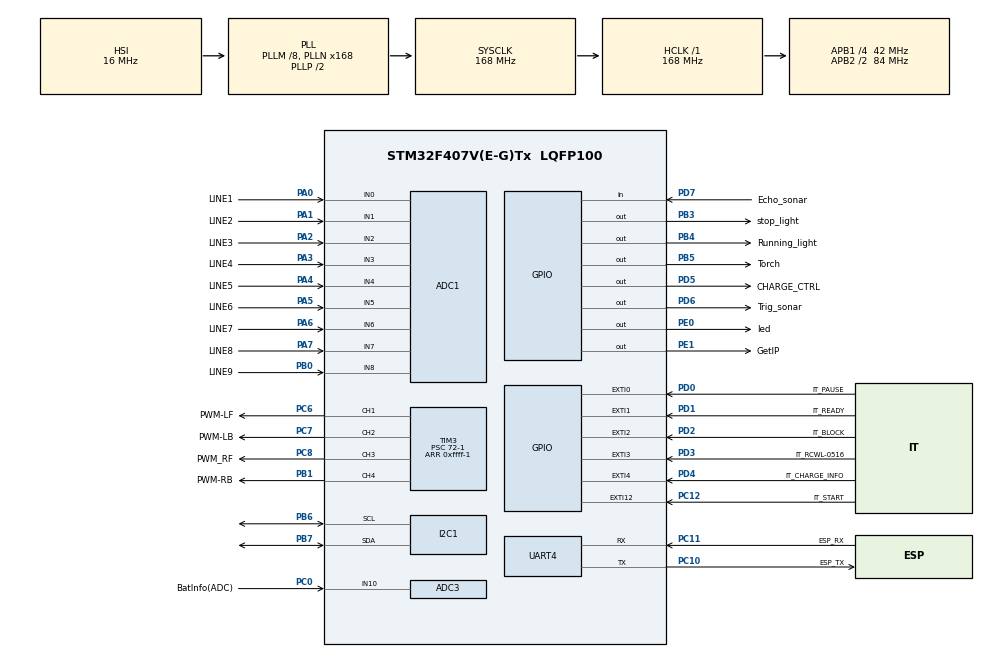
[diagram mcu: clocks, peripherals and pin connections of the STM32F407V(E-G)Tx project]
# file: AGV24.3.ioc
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ADC1.Channel-0\#ChannelRegularConversion=ADC_CHANNEL_0
ADC1.Channel-1\#ChannelRegularConversion=ADC_CHANNEL_1
ADC1.Channel-2\#ChannelRegularConversion=ADC_CHANNEL_2
ADC1.Channel-3\#ChannelRegularConversion=ADC_CHANNEL_3
ADC1.Channel-4\#ChannelRegularConversion=ADC_CHANNEL_4
ADC1.Channel-5\#ChannelRegularConversion=ADC_CHANNEL_5
ADC1.Channel-6\#ChannelRegularConversion=ADC_CHANNEL_6
ADC1.Channel-7\#ChannelRegularConversion=ADC_CHANNEL_7
ADC1.Channel-8\#ChannelRegularConversion=ADC_CHANNEL_8
ADC1.ContinuousConvMode=ENABLE
ADC1.NbrOfConversion=9
ADC1.NbrOfConversionFlag=1
ADC1.Rank-0\#ChannelRegularConversion=1
ADC1.Rank-1\#ChannelRegularConversion=2
ADC1.Rank-2\#ChannelRegularConversion=3
ADC1.Rank-3\#ChannelRegularConversion=4
ADC1.Rank-4\#ChannelRegularConversion=5
ADC1.Rank-5\#ChannelRegularConversion=6
ADC1.Rank-6\#ChannelRegularConversion=7
ADC1.Rank-7\#ChannelRegularConversion=8
ADC1.Rank-8\#ChannelRegularConversion=9
ADC1.SamplingTime-0\#ChannelRegularConversion=ADC_SAMPLETIME_28CYCLES
ADC1.SamplingTime-1\#ChannelRegularConversion=ADC_SAMPLETIME_28CYCLES
ADC1.SamplingTime-2\#ChannelRegularConversion=ADC_SAMPLETIME_28CYCLES
ADC1.SamplingTime-3\#ChannelRegularConversion=ADC_SAMPLETIME_28CYCLES
ADC1.SamplingTime-4\#ChannelRegularConversion=ADC_SAMPLETIME_28CYCLES
ADC1.SamplingTime-5\#ChannelRegularConversion=ADC_SAMPLETIME_28CYCLES
ADC1.SamplingTime-6\#ChannelRegularConversion=ADC_SAMPLETIME_28CYCLES
ADC1.SamplingTime-7\#ChannelRegularConversion=ADC_SAMPLETIME_28CYCLES
ADC1.SamplingTime-8\#ChannelRegularConversion=ADC_SAMPLETIME_28CYCLES
ADC1.ScanConvMode=ENABLE
ADC1.master=1
ADC3.Channel-0\#ChannelRegularConversion=ADC_CHANNEL_10
ADC3.ClockPrescaler=ADC_CLOCK_SYNC_PCLK_DIV4
ADC3.ContinuousConvMode=DISABLE
ADC3.DMAContinuousRequests=DISABLE
ADC3.DataAlign=ADC_DATAALIGN_RIGHT
ADC3.DiscontinuousConvMode=DISABLE
ADC3.EOCSelection=ADC_EOC_SINGLE_CONV
ADC3.EnableAnalogWatchDog=false
ADC3.ExternalTrigConv=ADC_SOFTWARE_START
ADC3.ExternalTrigConvEdge=ADC_EXTERNALTRIGCONVEDGE_NONE
ADC3.InjNumberOfConversion=0
ADC3.NbrOfConversion=1
ADC3.NbrOfConversionFlag=1
ADC3.Rank-0\#ChannelRegularConversion=1
ADC3.Resolution=ADC_RESOLUTION_12B
ADC3.SamplingTime-0\#ChannelRegularConversion=ADC_SAMPLETIME_3CYCLES
ADC3.ScanConvMode=DISABLE
Dma.ADC1.0.Direction=DMA_PERIPH_TO_MEMORY
Dma.ADC1.0.FIFOMode=DMA_FIFOMODE_DISABLE
Dma.ADC1.0.Instance=DMA2_Stream0
Dma.ADC1.0.MemDataAlignment=DMA_MDATAALIGN_HALFWORD
Dma.ADC1.0.MemInc=DMA_MINC_ENABLE
Dma.ADC1.0.Mode=DMA_CIRCULAR
Dma.ADC1.0.PeriphDataAlignment=DMA_PDATAALIGN_HALFWORD
Dma.ADC1.0.PeriphInc=DMA_PINC_DISABLE
Dma.ADC1.0.Priority=DMA_PRIORITY_LOW
Dma.Request0=ADC1
Mcu.Family=STM32F4
Mcu.Name=STM32F407V(E-G)Tx
Mcu.Package=LQFP100
NVIC.ADC_IRQn=true\:3\:0\:true\:false\:true\:true
NVIC.DMA2_Stream0_IRQn=true\:3\:0\:true\:false\:true\:false
NVIC.EXTI0_IRQn=true\:1\:0\:true\:false\:true\:true
NVIC.EXTI15_10_IRQn=true\:1\:0\:true\:false\:true\:true
NVIC.EXTI1_IRQn=true\:1\:0\:true\:false\:true\:true
NVIC.EXTI2_IRQn=true\:1\:0\:true\:false\:true\:true
NVIC.EXTI3_IRQn=true\:1\:0\:true\:false\:true\:true
NVIC.EXTI4_IRQn=true\:1\:0\:true\:false\:true\:true
NVIC.PriorityGroup=NVIC_PRIORITYGROUP_4
NVIC.UART4_IRQn=true\:1\:0\:true\:false\:true\:true
PA0-WKUP.GPIO_Label=LINE1
PA0-WKUP.Signal=ADCx_IN0
PA1.GPIO_Label=LINE2
PA1.Signal=ADCx_IN1
PA13.Mode=Serial_Wire
PA13.Signal=SYS_JTMS-SWDIO
PA14.Mode=Serial_Wire
PA14.Signal=SYS_JTCK-SWCLK
PA2.GPIO_Label=LINE3
PA2.Signal=ADCx_IN2
PA3.GPIO_Label=LINE4
PA3.Signal=ADCx_IN3
PA4.GPIO_Label=LINE5
PA4.Signal=ADCx_IN4
PA5.GPIO_Label=LINE6
PA5.Signal=ADCx_IN5
PA6.GPIO_Label=LINE7
PA6.Signal=ADCx_IN6
PA7.GPIO_Label=LINE8
PA7.Signal=ADCx_IN7
PB0.GPIO_Label=LINE9
PB0.Signal=ADCx_IN8
PB1.GPIO_Label=PWM-RB
PB1.Signal=S_TIM3_CH4
PB3.GPIO_Label=stop_light
PB3.GPIO_PuPd=GPIO_PULLDOWN
PB3.Signal=GPIO_Output
PB4.GPIO_Label=Running_light
PB4.GPIO_PuPd=GPIO_PULLDOWN
PB4.Signal=GPIO_Output
PB5.GPIO_Label=Torch
PB5.GPIO_PuPd=GPIO_PULLDOWN
PB5.Signal=GPIO_Output
PB6.Mode=I2C
PB6.Signal=I2C1_SCL
PB7.Mode=I2C
PB7.Signal=I2C1_SDA
PC0.GPIO_Label=BatInfo(ADC)
PC0.Signal=ADCx_IN10
PC10.GPIO_Label=ESP_TX
PC10.Mode=Asynchronous
PC10.Signal=UART4_TX
PC11.GPIO_Label=ESP_RX
PC11.Mode=Asynchronous
PC11.Signal=UART4_RX
PC12.GPIO_Label=IT_START
PC12.GPIO_ModeDefaultEXTI=GPIO_MODE_IT_RISING_FALLING
PC12.GPIO_PuPd=GPIO_PULLDOWN
PC12.Signal=GPXTI12
PC6.GPIO_Label=PWM-LF
PC6.Signal=S_TIM3_CH1
PC7.GPIO_Label=PWM-LB
PC7.Signal=S_TIM3_CH2
PC8.GPIO_Label=PWM_RF
PC8.Signal=S_TIM3_CH3
PD0.GPIO_Label=IT_PAUSE
PD0.GPIO_ModeDefaultEXTI=GPIO_MODE_IT_RISING_FALLING
PD0.GPIO_PuPd=GPIO_PULLDOWN
PD0.Signal=GPXTI0
PD1.GPIO_Label=IT_READY
PD1.GPIO_ModeDefaultEXTI=GPIO_MODE_IT_RISING_FALLING
PD1.GPIO_PuPd=GPIO_PULLDOWN
PD1.Signal=GPXTI1
PD2.GPIO_Label=IT_BLOCK
PD2.GPIO_ModeDefaultEXTI=GPIO_MODE_IT_RISING_FALLING
PD2.GPIO_PuPd=GPIO_PULLDOWN
PD2.Signal=GPXTI2
PD3.GPIO_Label=IT_RCWL-0516
PD3.GPIO_ModeDefaultEXTI=GPIO_MODE_IT_RISING_FALLING
PD3.GPIO_PuPd=GPIO_PULLDOWN
PD3.Signal=GPXTI3
PD4.GPIO_Label=IT_CHARGE_INFO
PD4.GPIO_ModeDefaultEXTI=GPIO_MODE_IT_RISING_FALLING
PD4.GPIO_PuPd=GPIO_PULLDOWN
PD4.Signal=GPXTI4
PD5.GPIO_Label=CHARGE_CTRL
PD5.GPIO_PuPd=GPIO_PULLDOWN
PD5.Signal=GPIO_Output
PD6.GPIO_Label=Trig_sonar
PD6.GPIO_PuPd=GPIO_PULLDOWN
PD6.GPIO_Speed=GPIO_SPEED_FREQ_HIGH
PD6.Signal=GPIO_Output
PD7.GPIO_Label=Echo_sonar
PD7.GPIO_PuPd=GPIO_PULLDOWN
PD7.Signal=GPIO_Input
PE0.GPIO_Label=led
PE0.GPIO_PuPd=GPIO_PULLDOWN
PE0.Signal=GPIO_Output
PE1.GPIO_Label=GetIP
PE1.GPIO_ModeDefaultOutputPP=GPIO_MODE_OUTPUT_OD
PE1.GPIO_PuPd=GPIO_PULLUP
PE1.PinState=GPIO_PIN_SET
PE1.Signal=GPIO_Output
PH0-OSC_IN.Mode=HSE-External-Oscillator
PH0-OSC_IN.Signal=RCC_OSC_IN
PH1-OSC_OUT.Mode=HSE-External-Oscillator
PH1-OSC_OUT.Signal=RCC_OSC_OUT
ProjectManager.HeapSize=0x200
ProjectManager.StackSize=0x400
ProjectManager.TargetToolchain=MDK-ARM V5
RCC.48MHZClocksFreq_Value=84000000
RCC.AHBFreq_Value=168000000
RCC.APB1CLKDivider=RCC_HCLK_DIV4
RCC.APB1Freq_Value=42000000
RCC.APB1TimFreq_Value=84000000
RCC.APB2CLKDivider=RCC_HCLK_DIV2
RCC.APB2Freq_Value=84000000
RCC.APB2TimFreq_Value=168000000
RCC.CortexFreq_Value=168000000
RCC.HCLKFreq_Value=168000000
RCC.HSE_VALUE=25000000
RCC.HSI_VALUE=16000000
RCC.LSE_VALUE=32768
RCC.PLLM=8
RCC.PLLN=168
RCC.SYSCLKFreq_VALUE=168000000
RCC.SYSCLKSource=RCC_SYSCLKSOURCE_PLLCLK
RCC.VCOOutputFreq_Value=336000000
SH.ADCx_IN0.0=ADC1_IN0,IN0
SH.ADCx_IN1.0=ADC1_IN1,IN1
SH.ADCx_IN10.0=ADC3_IN10,IN10
SH.ADCx_IN2.0=ADC1_IN2,IN2
SH.ADCx_IN3.0=ADC1_IN3,IN3
SH.ADCx_IN4.0=ADC1_IN4,IN4
SH.ADCx_IN5.0=ADC1_IN5,IN5
SH.ADCx_IN6.0=ADC1_IN6,IN6
SH.ADCx_IN7.0=ADC1_IN7,IN7
SH.ADCx_IN8.0=ADC1_IN8,IN8
SH.S_TIM3_CH1.0=TIM3_CH1,PWM Generation1 CH1
SH.S_TIM3_CH2.0=TIM3_CH2,PWM Generation2 CH2
SH.S_TIM3_CH3.0=TIM3_CH3,PWM Generation3 CH3
SH.S_TIM3_CH4.0=TIM3_CH4,PWM Generation4 CH4
TIM2.Period=0xffff-1
TIM2.Prescaler=72-1
TIM3.Channel-PWM\ Generation1\ CH1=TIM_CHANNEL_1
TIM3.Channel-PWM\ Generation2\ CH2=TIM_CHANNEL_2
TIM3.Channel-PWM\ Generation3\ CH3=TIM_CHANNEL_3
TIM3.Channel-PWM\ Generation4\ CH4=TIM_CHANNEL_4
TIM3.Period=0xffff-1
TIM3.Prescaler=72-1
UART4.VirtualMode=Asynchronous
VP_TIM2_VS_ClockSourceINT.Mode=Internal
VP_TIM3_VS_ClockSourceINT.Mode=Internal
board=AGV24.3

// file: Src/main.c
/**
  ******************************************************************************
  * File Name          : main.c
  * Description        : Main program body
  ******************************************************************************
  ** This notice applies to any and all portions of this file
  * that are not between comment pairs USER CODE BEGIN and
  * USER CODE END. Other portions of this file, whether
  * inserted by the user or by software development tools
  * are owned by their respective copyright owners.
  *
  * COPYRIGHT(c) 2020 STMicroelectronics
  *
  * Redistribution and use in source and binary forms, with or without modification,
  * are permitted provided that the following conditions are met:
  *   1. Redistributions of source code must retain the above copyright notice,
  *      this list of conditions and the following disclaimer.
  *   2. Redistributions in binary form must reproduce the above copyright notice,
  *      this list of conditions and the following disclaimer in the documentation
  *      and/or other materials provided with the distribution.
  *   3. Neither the name of STMicroelectronics nor the names of its contributors
  *      may be used to endorse or promote products derived from this software
  *      without specific prior written permission.
  *
  * THIS SOFTWARE IS PROVIDED BY THE COPYRIGHT HOLDERS AND CONTRIBUTORS "AS IS"
  * AND ANY EXPRESS OR IMPLIED WARRANTIES, INCLUDING, BUT NOT LIMITED TO, THE
  * IMPLIED WARRANTIES OF MERCHANTABILITY AND FITNESS FOR A PARTICULAR PURPOSE ARE
  * DISCLAIMED. IN NO EVENT SHALL THE COPYRIGHT HOLDER OR CONTRIBUTORS BE LIABLE
  * FOR ANY DIRECT, INDIRECT, INCIDENTAL, SPECIAL, EXEMPLARY, OR CONSEQUENTIAL
  * DAMAGES (INCLUDING, BUT NOT LIMITED TO, PROCUREMENT OF SUBSTITUTE GOODS OR
  * SERVICES; LOSS OF USE, DATA, OR PROFITS; OR BUSINESS INTERRUPTION) HOWEVER
  * CAUSED AND ON ANY THEORY OF LIABILITY, WHETHER IN CONTRACT, STRICT LIABILITY,
  * OR TORT (INCLUDING NEGLIGENCE OR OTHERWISE) ARISING IN ANY WAY OUT OF THE USE
  * OF THIS SOFTWARE, EVEN IF ADVISED OF THE POSSIBILITY OF SUCH DAMAGE.
  *
  ******************************************************************************
  */

#include "main.h"
#include "stm32f4xx_hal.h"

/* USER CODE BEGIN Includes */
#include "stdbool.h"
#include "stdio.h"
#include "i2c-lcd.h"
#include "motor.h"

#define goal 5000      								// PID's goal
#define MAX_PWM 5000					 				// Set maximum speed
#define MIN_PWM 50						 				// Set minimum speed
#define Low_battery 100			 				// adc value at battery-info port when it is low at 3V
#define Full_battery  3000
/* USER CODE END Includes */

ADC_HandleTypeDef hadc1;
ADC_HandleTypeDef hadc3;
DMA_HandleTypeDef hdma_adc1;

I2C_HandleTypeDef hi2c1;

TIM_HandleTypeDef htim2;
TIM_HandleTypeDef htim3;

UART_HandleTypeDef huart4;

/* USER CODE BEGIN PV */
/* Private variables ---------------------------------------------------------*/
volatile uint16_t adc1[9];
volatile bool line[9];
volatile uint32_t adc3=0;
volatile uint8_t start = 4;
volatile uint32_t sensor_time = 0;
volatile uint16_t local_time = 0;
volatile int16_t error = 0;
volatile uint16_t lastError = 0;
volatile uint16_t totalError = 0;
volatile uint32_t adjustment = 0;
volatile int16_t totalLine = 0;
volatile int numLine = 0;
volatile uint16_t lineValue = 0;
volatile int16_t max[9], min[9];
volatile uint16_t maxLine=0 , minLine=0;
char LCD[30];
volatile char receiver[50],result[10],lcd[30],getIP[20],getIPResult[20];
char resultcpy[10];
volatile uint16_t speed = 0,KD=0,KI=0,KP=0;
volatile uint8_t a=0;
/* USER CODE END PV */

void SystemClock_Config(void);
static void MX_GPIO_Init(void);
static void MX_DMA_Init(void);
static void MX_ADC1_Init(void);
static void MX_ADC3_Init(void);
static void MX_I2C1_Init(void);
static void MX_TIM2_Init(void);
static void MX_TIM3_Init(void);
static void MX_UART4_Init(void);

void HAL_TIM_MspPostInit(TIM_HandleTypeDef *htim);

/* USER CODE BEGIN PFP */
/* Private function prototypes -----------------------------------------------*/
//----------------------------------1us delay & get sonar sensor value-------------------------------------//
void delay ( uint32_t us){
	__HAL_TIM_SET_COUNTER(&htim2, 0);
	while( __HAL_TIM_GET_COUNTER(&htim2) < us);
}
uint32_t getSonar (void) {
	local_time = 0;
	HAL_GPIO_WritePin(Trig_sonar_GPIO_Port,Trig_sonar_Pin,0);
	delay(2);
	HAL_GPIO_WritePin(Trig_sonar_GPIO_Port,Trig_sonar_Pin,1);
	delay(10);
	HAL_GPIO_WritePin(Trig_sonar_GPIO_Port,Trig_sonar_Pin,0);
	while(!(HAL_GPIO_ReadPin(Echo_sonar_GPIO_Port, Echo_sonar_Pin)));
	while(HAL_GPIO_ReadPin(Echo_sonar_GPIO_Port, Echo_sonar_Pin)){
		local_time++;
		delay(1);
	}
return local_time;
}
//---------------------------------------------------------------------------------------------------------//

//---------------------------------------------Line Sensors------------------------------------------------//
void LineSensor(void){
	HAL_ADC_Start_DMA(&hadc1, (uint32_t*)adc1,9);
	HAL_Delay(5);
	HAL_ADC_Stop_DMA(&hadc1);
}
//---------------------------------------------------------------------------------------------------------//

//------------------------------------------PID calculation------------------------------------------------//
uint32_t PID (void){
	LineSensor();
	for(int i=0;i<=8;i++){
		if(adc1[i] <= lineValue){
			line[i]=0;
		} else line[i]=1;
	}
 for(int i=0 ; i<=8 ; i++){
	if(adc1[i] >= lineValue){
		line[i] = 1;
	} else line[i] = 0;
 }
	error = 0;
	totalLine = 0;
	numLine = 0;
	for (int i = 0; i<9; i++){
		if (line[i] == 1){
			totalLine += 1000*(i+1);
			numLine++;
		}
	}
	error = goal - (totalLine / numLine);
	lastError = error;
	totalError += error;
	adjustment = KP*error+KD*(error-lastError)+KI*totalError;
	return adjustment;
}
//---------------------------------------------------------------------------------------------------------//

//--------------------------------------------ADCs Interruption--------------------------------------------//
void HAL_ADC_ConvCpltCallback(ADC_HandleTypeDef* hadc)
{
	if(hadc->Instance==hadc3.Instance){
		adc3=HAL_ADC_GetValue(&hadc3);
			if(adc3 <= Low_battery){
				start =0;
			}
	}
	HAL_ADC_Start_IT(&hadc3);
}
//---------------------------------------------------------------------------------------------------------//

//---------------------------------------External Interrupt------------------------------------------------//
void HAL_GPIO_EXTI_Callback(uint16_t GPIO_Pin)
{
	HAL_UART_AbortReceive_IT(&huart4);		//Turn off UART Interrupt
	if (GPIO_Pin == IT_READY_Pin){				//get values of line
		lineValue=0;
		maxLine=0;
		minLine=0;
		for(int i=0;i<=8;i++){
			max[i]=0;
			min[i]=0;
		}
		HAL_ADC_Stop_DMA(&hadc1);
		HAL_ADC_Stop_IT(&hadc3);
		start=2;
		sprintf(LCD,"  Getting Ready  ");
	}
	else if(GPIO_Pin == IT_START_Pin){ //start
		start = 1;
		HAL_ADC_Start_IT(&hadc3);
		lcd_goto_XY(1,0);
		lcd_send_string("    LamTran        ");
		lcd_goto_XY(2,0);
		lcd_send_string("    Running        ");
		HAL_UART_Receive_IT(&huart4,(uint8_t*)receiver,1);
	}
	else if(GPIO_Pin == IT_PAUSE_Pin) //stop
  {
		HAL_ADC_Stop_IT(&hadc3);
    start = 3;
		HAL_GPIO_WritePin(Running_light_GPIO_Port, Running_light_Pin, 1);
		HAL_GPIO_WritePin(stop_light_GPIO_Port, stop_light_Pin, 1);
	}
	else if(GPIO_Pin == IT_CHARGE_INFO_Pin){   //Charging
		start = 6;
	}
	else if(GPIO_Pin == IT_BLOCK_Pin | GPIO_Pin == IT_RCWL_0516_Pin){    // Block
		start = 7;
	}
}
//----------------------------------------------------------------------------------------------//

//---------------------------------------UART Interrupt-----------------------------------------//
void HAL_UART_RxCpltCallback(UART_HandleTypeDef *huart)
{
 if(huart->Instance == UART4){
	 HAL_ADC_Stop_IT(&hadc3);
	 HAL_ADC_Stop_DMA(&hadc1);
		for (int i = 0; i < 10; i++) {
			resultcpy[i] = 0;
			result[i] = 0;
		}
		HAL_UART_Receive(&huart4,(uint8_t*)receiver,50,300);
		HAL_ADC_Start_IT(&hadc3);
		start =5;
	}
}
//----------------------------------------------------------------------------------------------//

/* USER CODE END PFP */

int main(void)
{

  /* MCU Configuration----------------------------------------------------------*/

  /* Reset of all peripherals, Initializes the Flash interface and the Systick. */
  HAL_Init();

  /* Configure the system clock */
  SystemClock_Config();

  /* Initialize all configured peripherals */
  MX_GPIO_Init();
  MX_DMA_Init();
  MX_ADC1_Init();
  MX_ADC3_Init();
  MX_I2C1_Init();
  MX_TIM2_Init();
  MX_TIM3_Init();
  MX_UART4_Init();

  /* USER CODE BEGIN 2 */
	HAL_ADC_Start_IT(&hadc3);
	lcd_init();
	lcd_goto_XY(1,0);
	lcd_send_string("    Welcome   ");
	lcd_goto_XY(2,0);
	lcd_send_string("  AGV Project");
	HAL_Delay(3000);
	lcd_clear_display();
  /* USER CODE END 2 */

  /* Infinite loop */
  /* USER CODE BEGIN WHILE */
  while (1)
  {
		/*Main processing loop-----------------------------------------------------------------------*/
	 while(start == 1){
		PID();
		HAL_GPIO_TogglePin(led_GPIO_Port,led_Pin);
	 }
	/*--------------------------------------------------------------------------------------------*/

	/*Low battery alarm using ADC interrupt loop--------------------------------------------------*/
	 while(start == 0){
		HAL_GPIO_WritePin(stop_light_GPIO_Port,stop_light_Pin,1);
		HAL_GPIO_WritePin(led_GPIO_Port,led_Pin,0);
		lcd_goto_XY(1,0);
		lcd_send_string("  AGV_BKHN_Lam  ");
		lcd_goto_XY(2,0);
		lcd_send_string("    PIN YEU!   ");
	   HAL_Delay(500);
		 lcd_clear_display();
		 HAL_Delay(500);
	 }
	/*--------------------------------------------------------------------------------------------*/

	/*Reading line value loop---------------------------------------------------------------------*/
	 while(start == 2){
		lcd_goto_XY(1,0);
		lcd_send_string("  AGV_BKHN_Lam  ");
		lcd_goto_XY(2,0);
		lcd_send_string(LCD);
		while(lineValue == 0){
			HAL_GPIO_WritePin(Running_light_GPIO_Port,Running_light_Pin,1);
			HAL_GPIO_WritePin(stop_light_GPIO_Port,stop_light_Pin,0);
			lineValue = 0;
			motorLeftBackward(4000);
			HAL_Delay(300);

			motorLeftForward(4000);
			LineSensor();
			for(int i = 0; i <= 8;i++){
				LineSensor();
				if(adc1[i]>=max[i]){
					max[i] = adc1[i];
				}
			}
			for(int i = 0; i <= 8;i++){
				min[i]=5000;
			}
			for(int i = 0; i <= 8;i++){
				LineSensor();
				if(adc1[i]<=min[i]){
					min[i] = adc1[i];
				}
			}
			for( int i = 0; i<= 8; i++){
				maxLine +=  max[i];
			}
			for( int i = 0; i<= 6; i++){
				minLine += min[i];
			}
			lineValue = ((maxLine/7)+(minLine/7))/2;
			HAL_Delay(300);

			motorLeftBackward(4000);
			HAL_Delay(300);
			HAL_GPIO_WritePin(GPIOC, GPIO_PIN_12, GPIO_PIN_RESET);
			sprintf(LCD,"    Ready :)     ");
			start=2;
			}
			HAL_Delay(1000);
	}
	 /*--------------------------------------------------------------------------------------------*/

	/*Pause loop-----------------------------------------------------------------------------------*/
	 	while(start == 3){
		lcd_goto_XY(1,0);
		lcd_send_string("  AGV_BKHN_Lam  ");
		lcd_goto_XY(2,0);
		lcd_send_string("     Pause   ");
		 HAL_Delay(500);
		 lcd_clear_display();
		 HAL_Delay(500);
	 }
	/*--------------------------------------------------------------------------------------------*/

	/*Start up and print out IP adress loop-------------------------------------------------------*/
		while(start==4){
			HAL_GPIO_WritePin(GetIP_GPIO_Port,GetIP_Pin,0);
			HAL_UART_Receive(&huart4,(uint8_t*)getIP,20,1000);
			for(int i=0;i<=20;i++){
				if(getIP[i] != 13){
					getIPResult[i]=getIP[i];
				}
			}
			lcd_goto_XY(1,0);
			lcd_send_string("  Press Ready    ");
			lcd_goto_XY(2,0);
			lcd_send_string(" ");
			lcd_goto_XY(2,1);
			lcd_send_string(getIPResult);
		}
		/*--------------------------------------------------------------------------------------------*/

		/*Changing factors receiving loop--------------------------------------------------------------*/
		while(start==5){
			HAL_GPIO_WritePin(led_GPIO_Port,led_Pin,0);
        if (receiver[49] != 0) {
            for (int i = 0; i < 50; i++) {
                receiver[i] = 0;
            }
        }
        for (int i = 0; i <= 50; i++) {
            if (receiver[i] == ':') {

                result[0] = receiver[i + 4];
                resultcpy[0] = receiver[i + 4];
                result[1] = receiver[i + 5];
                resultcpy[1] = receiver[i + 5];
                result[2] = receiver[i + 6];
                resultcpy[2] = receiver[i + 6];
                result[3] = receiver[i + 7];
                resultcpy[3] = receiver[i + 7];

                if (receiver[i - 1] == ' ') {
                    a = 1;
                }
                else if (receiver[i - 1] == 'D') {
                    a = 2;
                }
                else if (receiver[i - 1] == 'I') {
                    a = 3;
                }
                else if (receiver[i - 1] == 'P') {
                    a = 4;
                }
                else a = 0;
            }
        }
        if (a == 1) {
            if (atoi(resultcpy) != 0) {
                speed = atoi(resultcpy);
								lcd_init();
                sprintf(lcd, "  speed: %d       ", speed);
								lcd_goto_XY(1,0);
								lcd_send_string("    LamTran        ");
                lcd_goto_XY(2, 0);
                lcd_send_string(lcd);
								HAL_Delay(1000);
								lcd_goto_XY(1,0);
								lcd_send_string("    LamTran         ");
								lcd_goto_XY(2,0);
								lcd_send_string("    Running         ");
            }
        }
        else if (a == 2) {
            if (atoi(resultcpy) != 0) {
                KD = atoi(resultcpy);
                sprintf(lcd, "    KD: %d           ", KD);
								lcd_goto_XY(1,0);
								lcd_send_string("    LamTran        ");
								lcd_init();
                lcd_goto_XY(2, 0);
                lcd_send_string(lcd);
								HAL_Delay(1000);
								lcd_goto_XY(1,0);
								lcd_send_string("    LamTran        ");
								lcd_goto_XY(2,0);
								lcd_send_string("    Running        ");
            }
        }
        else if (a == 3) {
            if (atoi(resultcpy) != 0) {
                KI = atoi(resultcpy);
								lcd_init();
                sprintf(lcd, "    KI: %d           ", KI);
								lcd_goto_XY(1,0);
								lcd_send_string("    LamTran       ");
                lcd_goto_XY(2, 0);
                lcd_send_string(lcd);
								HAL_Delay(1000);
								lcd_goto_XY(1,0);
								lcd_send_string("    LamTran       ");
								lcd_goto_XY(2,0);
								lcd_send_string("    Running       ");
            }
        }
        else if (a == 4) {
            if (atoi(resultcpy) != 0) {
                KP = atoi(resultcpy);
								lcd_init();
                sprintf(lcd, "    KP: %d            ", KP);
								lcd_goto_XY(1,0);
								lcd_send_string("    LamTran   ");
                lcd_goto_XY(2, 0);
                lcd_send_string(lcd);
								HAL_Delay(1000);
								lcd_goto_XY(1,0);
								lcd_send_string("    LamTran      ");
								lcd_goto_XY(2,0);
								lcd_send_string("    Running      ");
            }
        }
				HAL_UART_Receive_IT(&huart4,(uint8_t*)receiver,1);
				HAL_ADC_Start_IT(&hadc3);
				start=1;
		}
		/*--------------------------------------------------------------------------------------------*/

		/*Charging loop-------------------------------------------------------------------------------*/
		while(start==6){
			HAL_ADC_Start_IT(&hadc3);
			adc3 = HAL_ADC_GetValue(&hadc3);
			if(adc3 <= Full_battery){
				HAL_GPIO_WritePin(CHARGE_CTRL_GPIO_Port,CHARGE_CTRL_Pin,1);
				lcd_goto_XY(2,0);
				lcd_send_string("  Charging...");
			}			else {
					HAL_GPIO_WritePin(CHARGE_CTRL_GPIO_Port,CHARGE_CTRL_Pin,0);
					lcd_goto_XY(2,0);
					lcd_send_string(" Fully charge!");
				}
		 if(HAL_GPIO_ReadPin(IT_CHARGE_INFO_GPIO_Port,IT_CHARGE_INFO_Pin)==0){
				adc3 = HAL_ADC_GetValue(&hadc3);
				start=3;
				lcd_goto_XY(1,0);
				lcd_send_string("    LamTran       ");
				lcd_goto_XY(2,0);
				lcd_send_string("    Running       ");
			}
		}
	/*--------------------------------------------------------------------------------------------*/

	/*Block loop----------------------------------------------------------------------------------*/
		while(start==7){
			if(HAL_GPIO_ReadPin(IT_BLOCK_GPIO_Port,IT_BLOCK_Pin)==1 | HAL_GPIO_ReadPin(IT_RCWL_0516_GPIO_Port,IT_RCWL_0516_Pin)==1){
				lcd_goto_XY(1,0);
				lcd_send_string("    LamTran       ");
				lcd_goto_XY(2,0);
				lcd_send_string("    Block!!!!    ");
			} else {
					start =1;
					lcd_goto_XY(1,0);
					lcd_send_string("    LamTran       ");
					lcd_goto_XY(2,0);
					lcd_send_string("    Running       ");
				}
		}
	/*--------------------------------------------------------------------------------------------*/
  /* USER CODE END WHILE */

  }

}

/** System Clock Configuration
*/
void SystemClock_Config(void)
{

  RCC_OscInitTypeDef RCC_OscInitStruct;
  RCC_ClkInitTypeDef RCC_ClkInitStruct;

    /**Configure the main internal regulator output voltage
    */
  __HAL_RCC_PWR_CLK_ENABLE();

  __HAL_PWR_VOLTAGESCALING_CONFIG(PWR_REGULATOR_VOLTAGE_SCALE1);

    /**Initializes the CPU, AHB and APB busses clocks
    */
  RCC_OscInitStruct.OscillatorType = RCC_OSCILLATORTYPE_HSI;
  RCC_OscInitStruct.HSIState = RCC_HSI_ON;
  RCC_OscInitStruct.HSICalibrationValue = 16;
  RCC_OscInitStruct.PLL.PLLState = RCC_PLL_ON;
  RCC_OscInitStruct.PLL.PLLSource = RCC_PLLSOURCE_HSI;
  RCC_OscInitStruct.PLL.PLLM = 8;
  RCC_OscInitStruct.PLL.PLLN = 168;
  RCC_OscInitStruct.PLL.PLLP = RCC_PLLP_DIV2;
  RCC_OscInitStruct.PLL.PLLQ = 4;
  if (HAL_RCC_OscConfig(&RCC_OscInitStruct) != HAL_OK)
  {
    _Error_Handler(__FILE__, __LINE__);
  }

    /**Initializes the CPU, AHB and APB busses clocks
    */
  RCC_ClkInitStruct.ClockType = RCC_CLOCKTYPE_HCLK|RCC_CLOCKTYPE_SYSCLK
                              |RCC_CLOCKTYPE_PCLK1|RCC_CLOCKTYPE_PCLK2;
  RCC_ClkInitStruct.SYSCLKSource = RCC_SYSCLKSOURCE_PLLCLK;
  RCC_ClkInitStruct.AHBCLKDivider = RCC_SYSCLK_DIV1;
  RCC_ClkInitStruct.APB1CLKDivider = RCC_HCLK_DIV4;
  RCC_ClkInitStruct.APB2CLKDivider = RCC_HCLK_DIV2;

  if (HAL_RCC_ClockConfig(&RCC_ClkInitStruct, FLASH_LATENCY_5) != HAL_OK)
  {
    _Error_Handler(__FILE__, __LINE__);
  }

    /**Configure the Systick interrupt time
    */
  HAL_SYSTICK_Config(HAL_RCC_GetHCLKFreq()/1000);

    /**Configure the Systick
    */
  HAL_SYSTICK_CLKSourceConfig(SYSTICK_CLKSOURCE_HCLK);

  /* SysTick_IRQn interrupt configuration */
  HAL_NVIC_SetPriority(SysTick_IRQn, 0, 0);
}

/* ADC1 init function */
static void MX_ADC1_Init(void)
{

  ADC_ChannelConfTypeDef sConfig;

    /**Configure the global features of the ADC (Clock, Resolution, Data Alignment and number of conversion)
    */
  hadc1.Instance = ADC1;
  hadc1.Init.ClockPrescaler = ADC_CLOCK_SYNC_PCLK_DIV4;
  hadc1.Init.Resolution = ADC_RESOLUTION_12B;
  hadc1.Init.ScanConvMode = ENABLE;
  hadc1.Init.ContinuousConvMode = ENABLE;
  hadc1.Init.DiscontinuousConvMode = DISABLE;
  hadc1.Init.ExternalTrigConvEdge = ADC_EXTERNALTRIGCONVEDGE_NONE;
  hadc1.Init.ExternalTrigConv = ADC_SOFTWARE_START;
  hadc1.Init.DataAlign = ADC_DATAALIGN_RIGHT;
  hadc1.Init.NbrOfConversion = 9;
  hadc1.Init.DMAContinuousRequests = DISABLE;
  hadc1.Init.EOCSelection = ADC_EOC_SINGLE_CONV;
  if (HAL_ADC_Init(&hadc1) != HAL_OK)
  {
    _Error_Handler(__FILE__, __LINE__);
  }

    /**Configure for the selected ADC regular channel its corresponding rank in the sequencer and its sample time.
    */
  sConfig.Channel = ADC_CHANNEL_0;
  sConfig.Rank = 1;
  sConfig.SamplingTime = ADC_SAMPLETIME_28CYCLES;
  if (HAL_ADC_ConfigChannel(&hadc1, &sConfig) != HAL_OK)
  {
    _Error_Handler(__FILE__, __LINE__);
  }

    /**Configure for the selected ADC regular channel its corresponding rank in the sequencer and its sample time.
    */
  sConfig.Channel = ADC_CHANNEL_1;
  sConfig.Rank = 2;
  if (HAL_ADC_ConfigChannel(&hadc1, &sConfig) != HAL_OK)
  {
    _Error_Handler(__FILE__, __LINE__);
  }

    /**Configure for the selected ADC regular channel its corresponding rank in the sequencer and its sample time.
    */
  sConfig.Channel = ADC_CHANNEL_2;
  sConfig.Rank = 3;
  if (HAL_ADC_ConfigChannel(&hadc1, &sConfig) != HAL_OK)
  {
    _Error_Handler(__FILE__, __LINE__);
  }

    /**Configure for the selected ADC regular channel its corresponding rank in the sequencer and its sample time.
    */
  sConfig.Channel = ADC_CHANNEL_3;
  sConfig.Rank = 4;
  if (HAL_ADC_ConfigChannel(&hadc1, &sConfig) != HAL_OK)
  {
    _Error_Handler(__FILE__, __LINE__);
  }

    /**Configure for the selected ADC regular channel its corresponding rank in the sequencer and its sample time.
    */
  sConfig.Channel = ADC_CHANNEL_4;
  sConfig.Rank = 5;
  if (HAL_ADC_ConfigChannel(&hadc1, &sConfig) != HAL_OK)
  {
    _Error_Handler(__FILE__, __LINE__);
  }

    /**Configure for the selected ADC regular channel its corresponding rank in the sequencer and its sample time.
    */
  sConfig.Channel = ADC_CHANNEL_5;
  sConfig.Rank = 6;
  if (HAL_ADC_ConfigChannel(&hadc1, &sConfig) != HAL_OK)
  {
    _Error_Handler(__FILE__, __LINE__);
  }

    /**Configure for the selected ADC regular channel its corresponding rank in the sequencer and its sample time.
    */
  sConfig.Channel = ADC_CHANNEL_6;
  sConfig.Rank = 7;
  if (HAL_ADC_ConfigChannel(&hadc1, &sConfig) != HAL_OK)
  {
    _Error_Handler(__FILE__, __LINE__);
  }

    /**Configure for the selected ADC regular channel its corresponding rank in the sequencer and its sample time.
    */
  sConfig.Channel = ADC_CHANNEL_7;
  sConfig.Rank = 8;
  if (HAL_ADC_ConfigChannel(&hadc1, &sConfig) != HAL_OK)
  {
    _Error_Handler(__FILE__, __LINE__);
  }

    /**Configure for the selected ADC regular channel its corresponding rank in the sequencer and its sample time.
    */
  sConfig.Channel = ADC_CHANNEL_8;
  sConfig.Rank = 9;
  if (HAL_ADC_ConfigChannel(&hadc1, &sConfig) != HAL_OK)
  {
    _Error_Handler(__FILE__, __LINE__);
  }

}

/* ADC3 init function */
static void MX_ADC3_Init(void)
{

  ADC_ChannelConfTypeDef sConfig;

    /**Configure the global features of the ADC (Clock, Resolution, Data Alignment and number of conversion)
    */
  hadc3.Instance = ADC3;
  hadc3.Init.ClockPrescaler = ADC_CLOCK_SYNC_PCLK_DIV4;
  hadc3.Init.Resolution = ADC_RESOLUTION_12B;
  hadc3.Init.ScanConvMode = DISABLE;
  hadc3.Init.ContinuousConvMode = DISABLE;
  hadc3.Init.DiscontinuousConvMode = DISABLE;
  hadc3.Init.ExternalTrigConvEdge = ADC_EXTERNALTRIGCONVEDGE_NONE;
  hadc3.Init.ExternalTrigConv = ADC_SOFTWARE_START;
  hadc3.Init.DataAlign = ADC_DATAALIGN_RIGHT;
  hadc3.Init.NbrOfConversion = 1;
  hadc3.Init.DMAContinuousRequests = DISABLE;
  hadc3.Init.EOCSelection = ADC_EOC_SINGLE_CONV;
  if (HAL_ADC_Init(&hadc3) != HAL_OK)
  {
    _Error_Handler(__FILE__, __LINE__);
  }

    /**Configure for the selected ADC regular channel its corresponding rank in the sequencer and its sample time.
    */
  sConfig.Channel = ADC_CHANNEL_10;
  sConfig.Rank = 1;
  sConfig.SamplingTime = ADC_SAMPLETIME_3CYCLES;
  if (HAL_ADC_ConfigChannel(&hadc3, &sConfig) != HAL_OK)
  {
    _Error_Handler(__FILE__, __LINE__);
  }

}

/* I2C1 init function */
static void MX_I2C1_Init(void)
{

  hi2c1.Instance = I2C1;
  hi2c1.Init.ClockSpeed = 100000;
  hi2c1.Init.DutyCycle = I2C_DUTYCYCLE_2;
  hi2c1.Init.OwnAddress1 = 0;
  hi2c1.Init.AddressingMode = I2C_ADDRESSINGMODE_7BIT;
  hi2c1.Init.DualAddressMode = I2C_DUALADDRESS_DISABLE;
  hi2c1.Init.OwnAddress2 = 0;
  hi2c1.Init.GeneralCallMode = I2C_GENERALCALL_DISABLE;
  hi2c1.Init.NoStretchMode = I2C_NOSTRETCH_DISABLE;
  if (HAL_I2C_Init(&hi2c1) != HAL_OK)
  {
    _Error_Handler(__FILE__, __LINE__);
  }

}

/* TIM2 init function */
static void MX_TIM2_Init(void)
{

  TIM_ClockConfigTypeDef sClockSourceConfig;
  TIM_MasterConfigTypeDef sMasterConfig;

  htim2.Instance = TIM2;
  htim2.Init.Prescaler = 72-1;
  htim2.Init.CounterMode = TIM_COUNTERMODE_UP;
  htim2.Init.Period = 0xffff-1;
  htim2.Init.ClockDivision = TIM_CLOCKDIVISION_DIV1;
  if (HAL_TIM_Base_Init(&htim2) != HAL_OK)
  {
    _Error_Handler(__FILE__, __LINE__);
  }

  sClockSourceConfig.ClockSource = TIM_CLOCKSOURCE_INTERNAL;
  if (HAL_TIM_ConfigClockSource(&htim2, &sClockSourceConfig) != HAL_OK)
  {
    _Error_Handler(__FILE__, __LINE__);
  }

  sMasterConfig.MasterOutputTrigger = TIM_TRGO_RESET;
  sMasterConfig.MasterSlaveMode = TIM_MASTERSLAVEMODE_DISABLE;
  if (HAL_TIMEx_MasterConfigSynchronization(&htim2, &sMasterConfig) != HAL_OK)
  {
    _Error_Handler(__FILE__, __LINE__);
  }

}

/* TIM3 init function */
static void MX_TIM3_Init(void)
{

  TIM_ClockConfigTypeDef sClockSourceConfig;
  TIM_MasterConfigTypeDef sMasterConfig;
  TIM_OC_InitTypeDef sConfigOC;

  htim3.Instance = TIM3;
  htim3.Init.Prescaler = 72-1;
  htim3.Init.CounterMode = TIM_COUNTERMODE_UP;
  htim3.Init.Period = 0xffff-1;
  htim3.Init.ClockDivision = TIM_CLOCKDIVISION_DIV1;
  if (HAL_TIM_Base_Init(&htim3) != HAL_OK)
  {
    _Error_Handler(__FILE__, __LINE__);
  }

  sClockSourceConfig.ClockSource = TIM_CLOCKSOURCE_INTERNAL;
  if (HAL_TIM_ConfigClockSource(&htim3, &sClockSourceConfig) != HAL_OK)
  {
    _Error_Handler(__FILE__, __LINE__);
  }

  if (HAL_TIM_PWM_Init(&htim3) != HAL_OK)
  {
    _Error_Handler(__FILE__, __LINE__);
  }

  sMasterConfig.MasterOutputTrigger = TIM_TRGO_RESET;
  sMasterConfig.MasterSlaveMode = TIM_MASTERSLAVEMODE_DISABLE;
  if (HAL_TIMEx_MasterConfigSynchronization(&htim3, &sMasterConfig) != HAL_OK)
  {
    _Error_Handler(__FILE__, __LINE__);
  }

  sConfigOC.OCMode = TIM_OCMODE_PWM1;
  sConfigOC.Pulse = 0;
  sConfigOC.OCPolarity = TIM_OCPOLARITY_HIGH;
  sConfigOC.OCFastMode = TIM_OCFAST_DISABLE;
  if (HAL_TIM_PWM_ConfigChannel(&htim3, &sConfigOC, TIM_CHANNEL_1) != HAL_OK)
  {
    _Error_Handler(__FILE__, __LINE__);
  }

  if (HAL_TIM_PWM_ConfigChannel(&htim3, &sConfigOC, TIM_CHANNEL_2) != HAL_OK)
  {
    _Error_Handler(__FILE__, __LINE__);
  }

  if (HAL_TIM_PWM_ConfigChannel(&htim3, &sConfigOC, TIM_CHANNEL_3) != HAL_OK)
  {
    _Error_Handler(__FILE__, __LINE__);
  }

  if (HAL_TIM_PWM_ConfigChannel(&htim3, &sConfigOC, TIM_CHANNEL_4) != HAL_OK)
  {
    _Error_Handler(__FILE__, __LINE__);
  }

  HAL_TIM_MspPostInit(&htim3);

}

/* UART4 init function */
static void MX_UART4_Init(void)
{

  huart4.Instance = UART4;
  huart4.Init.BaudRate = 115200;
  huart4.Init.WordLength = UART_WORDLENGTH_8B;
  huart4.Init.StopBits = UART_STOPBITS_1;
  huart4.Init.Parity = UART_PARITY_NONE;
  huart4.Init.Mode = UART_MODE_TX_RX;
  huart4.Init.HwFlowCtl = UART_HWCONTROL_NONE;
  huart4.Init.OverSampling = UART_OVERSAMPLING_16;
  if (HAL_UART_Init(&huart4) != HAL_OK)
  {
    _Error_Handler(__FILE__, __LINE__);
  }

}

static void MX_DMA_Init(void)
{
  /* DMA controller clock enable */
  __HAL_RCC_DMA2_CLK_ENABLE();

  /* DMA interrupt init */
  /* DMA2_Stream0_IRQn interrupt configuration */
  HAL_NVIC_SetPriority(DMA2_Stream0_IRQn, 3, 0);
  HAL_NVIC_EnableIRQ(DMA2_Stream0_IRQn);

}

/** Configure pins as
        * Analog
        * Input
        * Output
        * EVENT_OUT
        * EXTI
*/
static void MX_GPIO_Init(void)
{

  GPIO_InitTypeDef GPIO_InitStruct;

  /* GPIO Ports Clock Enable */
  __HAL_RCC_GPIOH_CLK_ENABLE();
  __HAL_RCC_GPIOC_CLK_ENABLE();
  __HAL_RCC_GPIOA_CLK_ENABLE();
  __HAL_RCC_GPIOB_CLK_ENABLE();
  __HAL_RCC_GPIOD_CLK_ENABLE();
  __HAL_RCC_GPIOE_CLK_ENABLE();

  /*Configure GPIO pin Output Level */
  HAL_GPIO_WritePin(GPIOD, CHARGE_CTRL_Pin|Trig_sonar_Pin, GPIO_PIN_RESET);

  /*Configure GPIO pin Output Level */
  HAL_GPIO_WritePin(GPIOB, stop_light_Pin|Running_light_Pin|Torch_Pin, GPIO_PIN_RESET);

  /*Configure GPIO pin Output Level */
  HAL_GPIO_WritePin(led_GPIO_Port, led_Pin, GPIO_PIN_RESET);

  /*Configure GPIO pin Output Level */
  HAL_GPIO_WritePin(GetIP_GPIO_Port, GetIP_Pin, GPIO_PIN_SET);

  /*Configure GPIO pin : IT_START_Pin */
  GPIO_InitStruct.Pin = IT_START_Pin;
  GPIO_InitStruct.Mode = GPIO_MODE_IT_RISING_FALLING;
  GPIO_InitStruct.Pull = GPIO_PULLDOWN;
  HAL_GPIO_Init(IT_START_GPIO_Port, &GPIO_InitStruct);

  /*Configure GPIO pins : IT_PAUSE_Pin IT_READY_Pin IT_RCWL_0516_Pin IT_CHARGE_INFO_Pin */
  GPIO_InitStruct.Pin = IT_PAUSE_Pin|IT_READY_Pin|IT_RCWL_0516_Pin|IT_CHARGE_INFO_Pin;
  GPIO_InitStruct.Mode = GPIO_MODE_IT_RISING_FALLING;
  GPIO_InitStruct.Pull = GPIO_PULLDOWN;
  HAL_GPIO_Init(GPIOD, &GPIO_InitStruct);

  /*Configure GPIO pin : IT_BLOCK_Pin */
  GPIO_InitStruct.Pin = IT_BLOCK_Pin;
  GPIO_InitStruct.Mode = GPIO_MODE_IT_RISING_FALLING;
  GPIO_InitStruct.Pull = GPIO_PULLDOWN;
  HAL_GPIO_Init(IT_BLOCK_GPIO_Port, &GPIO_InitStruct);

  /*Configure GPIO pin : CHARGE_CTRL_Pin */
  GPIO_InitStruct.Pin = CHARGE_CTRL_Pin;
  GPIO_InitStruct.Mode = GPIO_MODE_OUTPUT_PP;
  GPIO_InitStruct.Pull = GPIO_PULLDOWN;
  GPIO_InitStruct.Speed = GPIO_SPEED_FREQ_LOW;
  HAL_GPIO_Init(CHARGE_CTRL_GPIO_Port, &GPIO_InitStruct);

  /*Configure GPIO pin : Trig_sonar_Pin */
  GPIO_InitStruct.Pin = Trig_sonar_Pin;
  GPIO_InitStruct.Mode = GPIO_MODE_OUTPUT_PP;
  GPIO_InitStruct.Pull = GPIO_PULLDOWN;
  GPIO_InitStruct.Speed = GPIO_SPEED_FREQ_HIGH;
  HAL_GPIO_Init(Trig_sonar_GPIO_Port, &GPIO_InitStruct);

  /*Configure GPIO pin : Echo_sonar_Pin */
  GPIO_InitStruct.Pin = Echo_sonar_Pin;
  GPIO_InitStruct.Mode = GPIO_MODE_INPUT;
  GPIO_InitStruct.Pull = GPIO_PULLDOWN;
  HAL_GPIO_Init(Echo_sonar_GPIO_Port, &GPIO_InitStruct);

  /*Configure GPIO pins : stop_light_Pin Running_light_Pin Torch_Pin */
  GPIO_InitStruct.Pin = stop_light_Pin|Running_light_Pin|Torch_Pin;
  GPIO_InitStruct.Mode = GPIO_MODE_OUTPUT_PP;
  GPIO_InitStruct.Pull = GPIO_PULLDOWN;
  GPIO_InitStruct.Speed = GPIO_SPEED_FREQ_LOW;
  HAL_GPIO_Init(GPIOB, &GPIO_InitStruct);

  /*Configure GPIO pin : led_Pin */
  GPIO_InitStruct.Pin = led_Pin;
  GPIO_InitStruct.Mode = GPIO_MODE_OUTPUT_PP;
  GPIO_InitStruct.Pull = GPIO_PULLDOWN;
  GPIO_InitStruct.Speed = GPIO_SPEED_FREQ_LOW;
  HAL_GPIO_Init(led_GPIO_Port, &GPIO_InitStruct);

  /*Configure GPIO pin : GetIP_Pin */
  GPIO_InitStruct.Pin = GetIP_Pin;
  GPIO_InitStruct.Mode = GPIO_MODE_OUTPUT_OD;
  GPIO_InitStruct.Pull = GPIO_PULLUP;
  GPIO_InitStruct.Speed = GPIO_SPEED_FREQ_LOW;
  HAL_GPIO_Init(GetIP_GPIO_Port, &GPIO_InitStruct);

  /* EXTI interrupt init*/
  HAL_NVIC_SetPriority(EXTI0_IRQn, 1, 0);
  HAL_NVIC_EnableIRQ(EXTI0_IRQn);

  HAL_NVIC_SetPriority(EXTI1_IRQn, 1, 0);
  HAL_NVIC_EnableIRQ(EXTI1_IRQn);

  HAL_NVIC_SetPriority(EXTI2_IRQn, 1, 0);
  HAL_NVIC_EnableIRQ(EXTI2_IRQn);

  HAL_NVIC_SetPriority(EXTI3_IRQn, 1, 0);
  HAL_NVIC_EnableIRQ(EXTI3_IRQn);

  HAL_NVIC_SetPriority(EXTI4_IRQn, 1, 0);
  HAL_NVIC_EnableIRQ(EXTI4_IRQn);

  HAL_NVIC_SetPriority(EXTI15_10_IRQn, 1, 0);
  HAL_NVIC_EnableIRQ(EXTI15_10_IRQn);

}

void _Error_Handler(char * file, int line)
{
  while(1)
  {
  }
}

/************************ (C) COPYRIGHT STMicroelectronics *****END OF FILE****/
